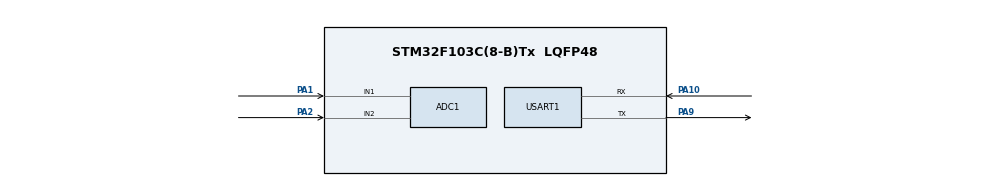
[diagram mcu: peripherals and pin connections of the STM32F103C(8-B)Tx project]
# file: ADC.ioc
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ADC1.Channel-0\#ChannelRegularConversion=ADC_CHANNEL_1
ADC1.Channel-1\#ChannelRegularConversion=ADC_CHANNEL_2
ADC1.ContinuousConvMode=ENABLE
ADC1.NbrOfConversion=2
ADC1.NbrOfConversionFlag=1
ADC1.Rank-0\#ChannelRegularConversion=1
ADC1.Rank-1\#ChannelRegularConversion=2
ADC1.SamplingTime-0\#ChannelRegularConversion=ADC_SAMPLETIME_1CYCLE_5
ADC1.SamplingTime-1\#ChannelRegularConversion=ADC_SAMPLETIME_1CYCLE_5
ADC1.master=1
Dma.ADC1.0.Direction=DMA_PERIPH_TO_MEMORY
Dma.ADC1.0.Instance=DMA1_Channel1
Dma.ADC1.0.MemDataAlignment=DMA_MDATAALIGN_HALFWORD
Dma.ADC1.0.MemInc=DMA_MINC_ENABLE
Dma.ADC1.0.Mode=DMA_CIRCULAR
Dma.ADC1.0.PeriphDataAlignment=DMA_PDATAALIGN_HALFWORD
Dma.ADC1.0.PeriphInc=DMA_PINC_DISABLE
Dma.ADC1.0.Priority=DMA_PRIORITY_LOW
Dma.Request0=ADC1
Mcu.Family=STM32F1
Mcu.Name=STM32F103C(8-B)Tx
Mcu.Package=LQFP48
NVIC.DMA1_Channel1_IRQn=true\:0\:0\:false\:false\:true\:false\:true
NVIC.PriorityGroup=NVIC_PRIORITYGROUP_4
PA1.Signal=ADCx_IN1
PA10.Mode=Asynchronous
PA10.Signal=USART1_RX
PA13.Mode=Trace_Asynchronous_SW
PA13.Signal=SYS_JTMS-SWDIO
PA14.Mode=Trace_Asynchronous_SW
PA14.Signal=SYS_JTCK-SWCLK
PA2.Signal=ADCx_IN2
PA9.Mode=Asynchronous
PA9.Signal=USART1_TX
PB3.Mode=Trace_Asynchronous_SW
PB3.Signal=SYS_JTDO-TRACESWO
ProjectManager.HeapSize=0x200
ProjectManager.StackSize=0x400
ProjectManager.TargetToolchain=Makefile
RCC.APB1Freq_Value=8000000
RCC.APB2Freq_Value=8000000
SH.ADCx_IN1.0=ADC1_IN1,IN1
SH.ADCx_IN2.0=ADC1_IN2,IN2
USART1.VirtualMode=VM_ASYNC
board=custom

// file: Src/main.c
/* USER CODE BEGIN Header */
/**
  ******************************************************************************
  * @file           : main.c
  * @brief          : Main program body
  ******************************************************************************
  * @attention
  *
  * <h2><center>&copy; Copyright (c) 2020 STMicroelectronics.
  * All rights reserved.</center></h2>
  *
  * This software component is licensed by ST under BSD 3-Clause license,
  * the "License"; You may not use this file except in compliance with the
  * License. You may obtain a copy of the License at:
  *                        opensource.org/licenses/BSD-3-Clause
  *
  ******************************************************************************
  */
/* USER CODE END Header */
#include "main.h"
#include "adc.h"
#include "dma.h"
#include "usart.h"
#include "gpio.h"

/* USER CODE BEGIN Includes */
#include <stdio.h>
/* USER CODE END Includes */

void SystemClock_Config(void);
/* USER CODE BEGIN PFP */

/* Definition of ADCx conversions data table size */
#define ADC_CONVERTED_DATA_BUFFER_SIZE ((uint32_t)2)

/* Variables for ADC conversion data */
__IO uint16_t ADCxConvertedData[ADC_CONVERTED_DATA_BUFFER_SIZE]; /* ADC group regular conversion data */

void Activate_DMA(void)
{
  /* Set DMA transfer addresses of source and destination */
  LL_DMA_ConfigAddresses(DMA1,
                         LL_DMA_CHANNEL_1,
                         LL_ADC_DMA_GetRegAddr(ADC1, LL_ADC_DMA_REG_REGULAR_DATA),
                         (uint32_t)&ADCxConvertedData,
                         LL_DMA_DIRECTION_PERIPH_TO_MEMORY);

  /* Set DMA transfer size */
  LL_DMA_SetDataLength(DMA1,
                       LL_DMA_CHANNEL_1,
                       ADC_CONVERTED_DATA_BUFFER_SIZE);

  /* Enable the DMA transfer */
  LL_DMA_EnableChannel(DMA1, LL_DMA_CHANNEL_1);
}

/* USER CODE END PFP */

int main(void)
{

  /* MCU Configuration--------------------------------------------------------*/

  /* Reset of all peripherals, Initializes the Flash interface and the Systick. */

  LL_APB2_GRP1_EnableClock(LL_APB2_GRP1_PERIPH_AFIO);
  LL_APB1_GRP1_EnableClock(LL_APB1_GRP1_PERIPH_PWR);

  NVIC_SetPriorityGrouping(NVIC_PRIORITYGROUP_4);

  /* System interrupt init*/

  /** NOJTAG: JTAG-DP Disabled and SW-DP Enabled
  */
  LL_GPIO_AF_Remap_SWJ_NOJTAG();

  /* Configure the system clock */
  SystemClock_Config();

  /* Initialize all configured peripherals */
  MX_GPIO_Init();
  MX_DMA_Init();
  MX_ADC1_Init();
  MX_USART1_UART_Init();
  /* USER CODE BEGIN 2 */
  Activate_ADC();
  Activate_DMA();
  /* USER CODE END 2 */

  /* Infinite loop */
  while (1)
  {

    /* USER CODE BEGIN 3 */
    printf("%u %u\r\n", ADCxConvertedData[0], ADCxConvertedData[1]);
    LL_mDelay(1000);
  }
  /* USER CODE END 3 */
}

void SystemClock_Config(void)
{
  LL_FLASH_SetLatency(LL_FLASH_LATENCY_0);
  while(LL_FLASH_GetLatency()!= LL_FLASH_LATENCY_0)
  {
  }
  LL_RCC_HSI_SetCalibTrimming(16);
  LL_RCC_HSI_Enable();

   /* Wait till HSI is ready */
  while(LL_RCC_HSI_IsReady() != 1)
  {

  }
  LL_RCC_SetAHBPrescaler(LL_RCC_SYSCLK_DIV_1);
  LL_RCC_SetAPB1Prescaler(LL_RCC_APB1_DIV_1);
  LL_RCC_SetAPB2Prescaler(LL_RCC_APB2_DIV_1);
  LL_RCC_SetSysClkSource(LL_RCC_SYS_CLKSOURCE_HSI);

   /* Wait till System clock is ready */
  while(LL_RCC_GetSysClkSource() != LL_RCC_SYS_CLKSOURCE_STATUS_HSI)
  {

  }
  LL_Init1msTick(8000000);
  LL_SetSystemCoreClock(8000000);
  LL_RCC_SetADCClockSource(LL_RCC_ADC_CLKSRC_PCLK2_DIV_2);
}

void Error_Handler(void)
{
  __disable_irq();
  while (1)
  {
  }
}

/************************ (C) COPYRIGHT STMicroelectronics *****END OF FILE****/
